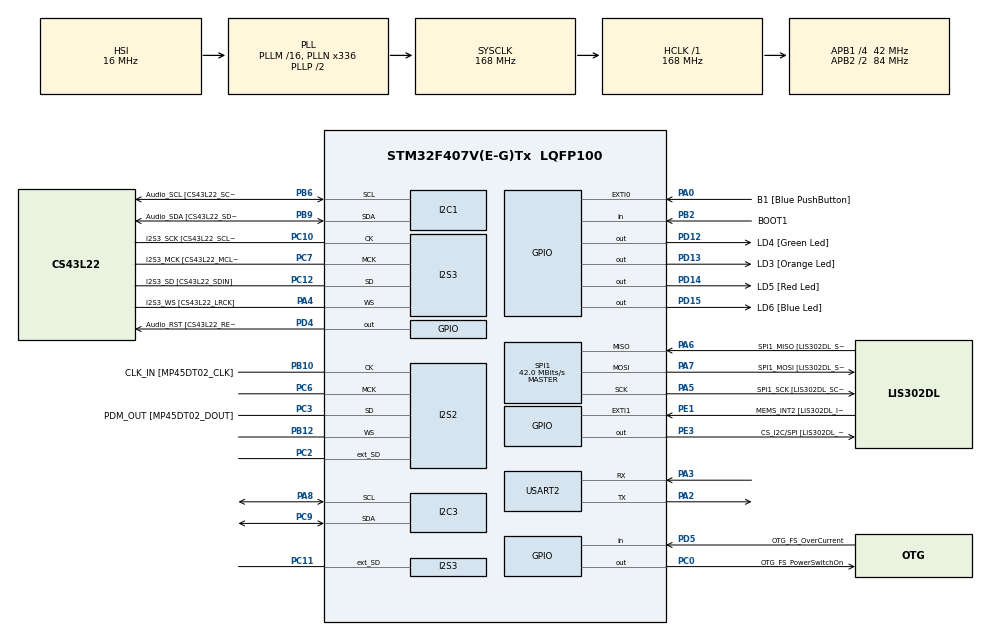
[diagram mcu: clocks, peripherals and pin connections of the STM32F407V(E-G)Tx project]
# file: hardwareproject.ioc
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Dma.Request0=SPI3_TX
Dma.SPI3_TX.0.Direction=DMA_MEMORY_TO_PERIPH
Dma.SPI3_TX.0.FIFOMode=DMA_FIFOMODE_ENABLE
Dma.SPI3_TX.0.FIFOThreshold=DMA_FIFO_THRESHOLD_FULL
Dma.SPI3_TX.0.Instance=DMA1_Stream5
Dma.SPI3_TX.0.MemBurst=DMA_MBURST_INC8
Dma.SPI3_TX.0.MemDataAlignment=DMA_MDATAALIGN_HALFWORD
Dma.SPI3_TX.0.MemInc=DMA_MINC_ENABLE
Dma.SPI3_TX.0.Mode=DMA_NORMAL
Dma.SPI3_TX.0.PeriphBurst=DMA_PBURST_SINGLE
Dma.SPI3_TX.0.PeriphDataAlignment=DMA_PDATAALIGN_HALFWORD
Dma.SPI3_TX.0.PeriphInc=DMA_PINC_DISABLE
Dma.SPI3_TX.0.Priority=DMA_PRIORITY_LOW
I2S2.AudioFreq=I2S_AUDIOFREQ_48K
I2S2.ErrorAudioFreq=-0.01 %
I2S2.FullDuplexMode=I2S_FULLDUPLEXMODE_ENABLE
I2S2.Mode=I2S_MODE_MASTER_RX
I2S2.RealAudioFreq=47.991 KHz
I2S3.AudioFreq=I2S_AUDIOFREQ_48K
I2S3.ErrorAudioFreq=-0.01 %
I2S3.FullDuplexMode=I2S_FULLDUPLEXMODE_ENABLE
I2S3.RealAudioFreq=47.991 KHz
I2S3.Standard=I2S_STANDARD_MSB
Mcu.Family=STM32F4
Mcu.Name=STM32F407V(E-G)Tx
Mcu.Package=LQFP100
NVIC.DMA1_Stream5_IRQn=true\:0\:0\:false\:false\:true
NVIC.PriorityGroup=NVIC_PRIORITYGROUP_0
NVIC.SPI2_IRQn=true\:0\:0\:false\:false\:true
PA0-WKUP.GPIO_Label=B1 [Blue PushButton]
PA0-WKUP.Signal=GPXTI0
PA10.GPIO_Label=OTG_FS_ID
PA10.GPIO_Mode=GPIO_MODE_AF_PP
PA10.GPIO_PuPd=GPIO_NOPULL
PA10.GPIO_Speed=GPIO_SPEED_FREQ_LOW
PA10.Signal=USB_OTG_FS_ID
PA11.GPIO_Label=OTG_FS_DM
PA11.GPIO_Mode=GPIO_MODE_AF_PP
PA11.GPIO_PuPd=GPIO_NOPULL
PA11.GPIO_Speed=GPIO_SPEED_FREQ_LOW
PA11.Signal=USB_OTG_FS_DM
PA12.GPIO_Label=OTG_FS_DP
PA12.GPIO_Mode=GPIO_MODE_AF_PP
PA12.GPIO_PuPd=GPIO_NOPULL
PA12.GPIO_Speed=GPIO_SPEED_FREQ_LOW
PA12.Signal=USB_OTG_FS_DP
PA13.GPIO_Label=SWDIO
PA13.Signal=SYS_JTMS-SWDIO
PA14.GPIO_Label=SWCLK
PA14.Signal=SYS_JTCK-SWCLK
PA2.Mode=Asynchronous
PA2.Signal=USART2_TX
PA3.Mode=Asynchronous
PA3.Signal=USART2_RX
PA4.GPIO_Label=I2S3_WS [CS43L22_LRCK]
PA4.GPIO_Mode=GPIO_MODE_AF_PP
PA4.GPIO_PuPd=GPIO_NOPULL
PA4.GPIO_Speed=GPIO_SPEED_FREQ_LOW
PA4.Mode=Full_Duplex_Master
PA4.Signal=I2S3_WS
PA5.GPIO_Label=SPI1_SCK [LIS302DL_SCL/SPC]
PA5.GPIO_Mode=GPIO_MODE_AF_PP
PA5.GPIO_PuPd=GPIO_NOPULL
PA5.GPIO_Speed=GPIO_SPEED_FREQ_LOW
PA5.Mode=Full_Duplex_Master
PA5.Signal=SPI1_SCK
PA6.GPIO_Label=SPI1_MISO [LIS302DL_SDO]
PA6.GPIO_Mode=GPIO_MODE_AF_PP
PA6.GPIO_PuPd=GPIO_NOPULL
PA6.GPIO_Speed=GPIO_SPEED_FREQ_LOW
PA6.Mode=Full_Duplex_Master
PA6.Signal=SPI1_MISO
PA7.GPIO_Label=SPI1_MOSI [LIS302DL_SDA/SDI/SDO]
PA7.GPIO_Mode=GPIO_MODE_AF_PP
PA7.GPIO_PuPd=GPIO_NOPULL
PA7.GPIO_Speed=GPIO_SPEED_FREQ_LOW
PA7.Mode=Full_Duplex_Master
PA7.Signal=SPI1_MOSI
PA8.Mode=I2C
PA8.Signal=I2C3_SCL
PA9.GPIO_Label=VBUS_FS
PA9.GPIO_Mode=GPIO_MODE_INPUT
PA9.GPIO_PuPd=GPIO_NOPULL
PA9.Signal=USB_OTG_FS_VBUS
PB10.GPIO_Label=CLK_IN [MP45DT02_CLK]
PB10.GPIO_Mode=GPIO_MODE_AF_PP
PB10.GPIO_PuPd=GPIO_NOPULL
PB10.GPIO_Speed=GPIO_SPEED_FREQ_LOW
PB10.Mode=Full_Duplex_Master
PB10.Signal=I2S2_CK
PB12.Mode=Full_Duplex_Master
PB12.Signal=I2S2_WS
PB2.GPIO_Label=BOOT1
PB2.GPIO_Mode=GPIO_MODE_INPUT
PB2.GPIO_PuPd=GPIO_NOPULL
PB2.Signal=GPIO_Input
PB3.GPIO_Label=SWO
PB3.Signal=SYS_JTDO-SWO
PB6.GPIO_Label=Audio_SCL [CS43L22_SCL]
PB6.GPIO_Mode=GPIO_MODE_AF_OD
PB6.GPIO_PuPd=GPIO_NOPULL
PB6.GPIO_Speed=GPIO_SPEED_FREQ_LOW
PB6.Mode=I2C
PB6.Signal=I2C1_SCL
PB9.GPIO_Label=Audio_SDA [CS43L22_SDA]
PB9.GPIO_Mode=GPIO_MODE_AF_OD
PB9.GPIO_PuPd=GPIO_NOPULL
PB9.GPIO_Speed=GPIO_SPEED_FREQ_LOW
PB9.Mode=I2C
PB9.Signal=I2C1_SDA
PC0.GPIO_Label=OTG_FS_PowerSwitchOn
PC0.GPIO_PuPd=GPIO_NOPULL
PC0.GPIO_Speed=GPIO_SPEED_FREQ_LOW
PC0.PinState=GPIO_PIN_SET
PC0.Signal=GPIO_Output
PC10.GPIO_Label=I2S3_SCK [CS43L22_SCLK]
PC10.GPIO_Mode=GPIO_MODE_AF_PP
PC10.GPIO_PuPd=GPIO_NOPULL
PC10.GPIO_Speed=GPIO_SPEED_FREQ_LOW
PC10.Mode=Full_Duplex_Master
PC10.Signal=I2S3_CK
PC11.Mode=Full_Duplex_Master
PC11.Signal=I2S3_ext_SD
PC12.GPIO_Label=I2S3_SD [CS43L22_SDIN]
PC12.GPIO_Mode=GPIO_MODE_AF_PP
PC12.GPIO_PuPd=GPIO_NOPULL
PC12.GPIO_Speed=GPIO_SPEED_FREQ_LOW
PC12.Mode=Full_Duplex_Master
PC12.Signal=I2S3_SD
PC14-OSC32_IN.GPIO_Label=PC14-OSC32_IN
PC14-OSC32_IN.Signal=RCC_OSC32_IN
PC15-OSC32_OUT.GPIO_Label=PC15-OSC32_OUT
PC15-OSC32_OUT.Signal=RCC_OSC32_OUT
PC2.Mode=Full_Duplex_Master
PC2.Signal=I2S2_ext_SD
PC3.GPIO_Label=PDM_OUT [MP45DT02_DOUT]
PC3.GPIO_Mode=GPIO_MODE_AF_PP
PC3.GPIO_PuPd=GPIO_NOPULL
PC3.GPIO_Speed=GPIO_SPEED_FREQ_LOW
PC3.Mode=Full_Duplex_Master
PC3.Signal=I2S2_SD
PC6.Mode=Master_Clock_Activated
PC6.Signal=I2S2_MCK
PC7.GPIO_Label=I2S3_MCK [CS43L22_MCLK]
PC7.GPIO_Mode=GPIO_MODE_AF_PP
PC7.GPIO_PuPd=GPIO_NOPULL
PC7.GPIO_Speed=GPIO_SPEED_FREQ_LOW
PC7.Mode=Master_Clock_Activated
PC7.Signal=I2S3_MCK
PC9.Mode=I2C
PC9.Signal=I2C3_SDA
PD12.GPIO_Label=LD4 [Green Led]
PD12.GPIO_PuPd=GPIO_NOPULL
PD12.GPIO_Speed=GPIO_SPEED_FREQ_LOW
PD12.Signal=GPIO_Output
PD13.GPIO_Label=LD3 [Orange Led]
PD13.GPIO_PuPd=GPIO_NOPULL
PD13.GPIO_Speed=GPIO_SPEED_FREQ_LOW
PD13.Signal=GPIO_Output
PD14.GPIO_Label=LD5 [Red Led]
PD14.GPIO_PuPd=GPIO_NOPULL
PD14.GPIO_Speed=GPIO_SPEED_FREQ_LOW
PD14.Signal=GPIO_Output
PD15.GPIO_Label=LD6 [Blue Led]
PD15.GPIO_PuPd=GPIO_NOPULL
PD15.GPIO_Speed=GPIO_SPEED_FREQ_LOW
PD15.Signal=GPIO_Output
PD4.GPIO_Label=Audio_RST [CS43L22_RESET]
PD4.GPIO_PuPd=GPIO_NOPULL
PD4.GPIO_Speed=GPIO_SPEED_FREQ_MEDIUM
PD4.Signal=GPIO_Output
PD5.GPIO_Label=OTG_FS_OverCurrent
PD5.GPIO_Mode=GPIO_MODE_INPUT
PD5.GPIO_PuPd=GPIO_NOPULL
PD5.Signal=GPIO_Input
PE1.GPIO_Label=MEMS_INT2 [LIS302DL_INT2]
PE1.GPIO_ModeDefaultEXTI=GPIO_MODE_EVT_RISING
PE1.GPIO_PuPd=GPIO_NOPULL
PE1.Signal=GPXTI1
PE3.GPIO_Label=CS_I2C/SPI [LIS302DL_CS_I2C/SPI]
PE3.GPIO_PuPd=GPIO_NOPULL
PE3.GPIO_Speed=GPIO_SPEED_FREQ_LOW
PE3.Signal=GPIO_Output
PH0-OSC_IN.GPIO_Label=PH0-OSC_IN
PH0-OSC_IN.Signal=RCC_OSC_IN
PH1-OSC_OUT.GPIO_Label=PH1-OSC_OUT
PH1-OSC_OUT.Signal=RCC_OSC_OUT
ProjectManager.HeapSize=0x200
ProjectManager.StackSize=0x400
ProjectManager.TargetToolchain=MDK-ARM V5
RCC.48MHZClocksFreq_Value=48000000
RCC.AHBFreq_Value=168000000
RCC.APB1CLKDivider=RCC_HCLK_DIV4
RCC.APB1Freq_Value=42000000
RCC.APB1TimFreq_Value=84000000
RCC.APB2CLKDivider=RCC_HCLK_DIV2
RCC.APB2Freq_Value=84000000
RCC.APB2TimFreq_Value=168000000
RCC.CortexFreq_Value=168000000
RCC.HCLKFreq_Value=168000000
RCC.HSE_VALUE=8000000
RCC.HSI_VALUE=16000000
RCC.LSE_VALUE=32768
RCC.PLLI2SN=258
RCC.PLLI2SR=3
RCC.PLLN=336
RCC.PLLQ=7
RCC.SYSCLKFreq_VALUE=168000000
RCC.SYSCLKSource=RCC_SYSCLKSOURCE_PLLCLK
RCC.VCOOutputFreq_Value=336000000
SPI1.CalculateBaudRate=42.0 MBits/s
SPI1.Mode=SPI_MODE_MASTER
VP_CRC_VS_CRC.Mode=CRC_Activate
board=STM32F407G-DISC1

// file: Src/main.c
/**
  ******************************************************************************
  * File Name          : main.c
  * Description        : Main program body
  ******************************************************************************
  *
  * COPYRIGHT(c) 2016 STMicroelectronics
  *
  * Redistribution and use in source and binary forms, with or without modification,
  * are permitted provided that the following conditions are met:
  *   1. Redistributions of source code must retain the above copyright notice,
  *      this list of conditions and the following disclaimer.
  *   2. Redistributions in binary form must reproduce the above copyright notice,
  *      this list of conditions and the following disclaimer in the documentation
  *      and/or other materials provided with the distribution.
  *   3. Neither the name of STMicroelectronics nor the names of its contributors
  *      may be used to endorse or promote products derived from this software
  *      without specific prior written permission.
  *
  * THIS SOFTWARE IS PROVIDED BY THE COPYRIGHT HOLDERS AND CONTRIBUTORS "AS IS"
  * AND ANY EXPRESS OR IMPLIED WARRANTIES, INCLUDING, BUT NOT LIMITED TO, THE
  * IMPLIED WARRANTIES OF MERCHANTABILITY AND FITNESS FOR A PARTICULAR PURPOSE ARE
  * DISCLAIMED. IN NO EVENT SHALL THE COPYRIGHT HOLDER OR CONTRIBUTORS BE LIABLE
  * FOR ANY DIRECT, INDIRECT, INCIDENTAL, SPECIAL, EXEMPLARY, OR CONSEQUENTIAL
  * DAMAGES (INCLUDING, BUT NOT LIMITED TO, PROCUREMENT OF SUBSTITUTE GOODS OR
  * SERVICES; LOSS OF USE, DATA, OR PROFITS; OR BUSINESS INTERRUPTION) HOWEVER
  * CAUSED AND ON ANY THEORY OF LIABILITY, WHETHER IN CONTRACT, STRICT LIABILITY,
  * OR TORT (INCLUDING NEGLIGENCE OR OTHERWISE) ARISING IN ANY WAY OUT OF THE USE
  * OF THIS SOFTWARE, EVEN IF ADVISED OF THE POSSIBILITY OF SUCH DAMAGE.
  *
  ******************************************************************************
  */
#include "main.h"
#include "stm32f4xx_hal.h"

/* USER CODE BEGIN Includes */
#include "pdm_filter.h"
#include <math.h>
#define LED_BLUE_ON   GPIOD->BSRRL = GPIO_Pin_15;
#define LED_BLUE_OFF  GPIOD->BSRRH = GPIO_Pin_15;

#define DAC_I2C_ADDR 0x94
#define FS 48000
#define PDM_BUFFER_SIZE 64 // 8000 / 1000 * 64 / 8
#define PCM_BUFFER_SIZE 16 // 8000 / 1000 * 64

#define PI 3.14159265f

/* USER CODE END Includes */

CRC_HandleTypeDef hcrc;

I2C_HandleTypeDef hi2c1;
I2C_HandleTypeDef hi2c3;

I2S_HandleTypeDef hi2s2;
I2S_HandleTypeDef hi2s3;
DMA_HandleTypeDef hdma_spi3_tx;

SPI_HandleTypeDef hspi1;

UART_HandleTypeDef huart2;

/* USER CODE BEGIN PV */
/* Private variables ---------------------------------------------------------*/
PDMFilter_InitStruct pdm_filter;
int i = 0;
const int freq[] = { 183, 163, 145, 137, 122, 109, 97};
uint16_t wav[7][256];
uint16_t PDM_buffer[ PDM_BUFFER_SIZE ];
uint16_t PCM_buffer[ PCM_BUFFER_SIZE ];

/* USER CODE END PV */

void SystemClock_Config(void);
void Error_Handler(void);
static void MX_GPIO_Init(void);
static void MX_DMA_Init(void);
static void MX_I2C1_Init(void);
static void MX_I2C3_Init(void);
static void MX_I2S2_Init(void);
static void MX_I2S3_Init(void);
static void MX_SPI1_Init(void);
static void MX_USART2_UART_Init(void);
static void MX_CRC_Init(void);

/* USER CODE BEGIN PFP */
static void CS43I22_Init(void);
static void MP45DT02_Init(void);
/* USER CODE END PFP */

/* USER CODE BEGIN 0 */
uint8_t regValue = 0xFF;
uint8_t cmd[10];
uint8_t currentKey = 0;
/* USER CODE END 0 */

int main(void)
{

  /* USER CODE BEGIN 1 */
	int j = 0;
  /* USER CODE END 1 */

  /* MCU Configuration----------------------------------------------------------*/

  /* Reset of all peripherals, Initializes the Flash interface and the Systick. */
  HAL_Init();

  /* Configure the system clock */
  SystemClock_Config();

  /* Initialize all configured peripherals */
  MX_GPIO_Init();
  MX_DMA_Init();
  MX_I2C1_Init();
  MX_I2C3_Init();
  MX_I2S2_Init();
  MX_I2S3_Init();
  MX_SPI1_Init();
  MX_USART2_UART_Init();
  MX_CRC_Init();

  /* USER CODE BEGIN 2 */
	CS43I22_Init();
  MP45DT02_Init();

  for (j = 0; j < 7; j++) {
    for (i = 0; i < freq[j]; i++) {
      wav[j][i] = sin(2 * PI / freq[j] * i) * 32767;
    }
  }

  i = 0;

	HAL_I2S_Receive_IT(&hi2s2, PCM_buffer, PCM_BUFFER_SIZE);
  /* USER CODE END 2 */

  /* Infinite loop */
  while (1)
  {

  /* USER CODE BEGIN 3 */
    /*
    uint16_t data[1024];
		char str[8];
		int len, i, j;
		int dat = 0;

    if(HAL_I2S_Receive(&hi2s2, data, 1024, 10) == HAL_OK){
			for(i = 0; i < 1024; i++){
				for(j = 0; j < 16; j++){
					dat += (data[i] >> j) % 2;
				}
			}
			dat -= 8200;
			len = sprintf(str, "%d", dat);
			HAL_UART_Transmit(&huart2, str, len, 1000);
			HAL_UART_Transmit(&huart2, "\n\r", 2, 1000);
		}
    */

		/*
    uint8_t data;
		if (HAL_UART_Receive(&huart2, &data, 1, 10) == HAL_OK) {
			if (data - 'A' >= 0 && data - 'A' < 7) {
				HAL_UART_Transmit(&huart2, &data, 1, 1000);
				HAL_UART_Transmit(&huart2, "\n\r", 2, 1000);

				currentKey = data - 'A';
				i = freq[currentKey] * 2;
				HAL_I2S_Transmit_DMA(&hi2s3, wav[currentKey], freq[currentKey]);
			}
		}*/
  }
  /* USER CODE END 3 */

}

/** System Clock Configuration
*/
void SystemClock_Config(void)
{

  RCC_OscInitTypeDef RCC_OscInitStruct;
  RCC_ClkInitTypeDef RCC_ClkInitStruct;
  RCC_PeriphCLKInitTypeDef PeriphClkInitStruct;

    /**Configure the main internal regulator output voltage
    */
  __HAL_RCC_PWR_CLK_ENABLE();

  __HAL_PWR_VOLTAGESCALING_CONFIG(PWR_REGULATOR_VOLTAGE_SCALE1);

    /**Initializes the CPU, AHB and APB busses clocks
    */
  RCC_OscInitStruct.OscillatorType = RCC_OSCILLATORTYPE_HSI;
  RCC_OscInitStruct.HSIState = RCC_HSI_ON;
  RCC_OscInitStruct.HSICalibrationValue = 16;
  RCC_OscInitStruct.PLL.PLLState = RCC_PLL_ON;
  RCC_OscInitStruct.PLL.PLLSource = RCC_PLLSOURCE_HSI;
  RCC_OscInitStruct.PLL.PLLM = 16;
  RCC_OscInitStruct.PLL.PLLN = 336;
  RCC_OscInitStruct.PLL.PLLP = RCC_PLLP_DIV2;
  RCC_OscInitStruct.PLL.PLLQ = 7;
  if (HAL_RCC_OscConfig(&RCC_OscInitStruct) != HAL_OK)
  {
    Error_Handler();
  }

    /**Initializes the CPU, AHB and APB busses clocks
    */
  RCC_ClkInitStruct.ClockType = RCC_CLOCKTYPE_HCLK|RCC_CLOCKTYPE_SYSCLK
                              |RCC_CLOCKTYPE_PCLK1|RCC_CLOCKTYPE_PCLK2;
  RCC_ClkInitStruct.SYSCLKSource = RCC_SYSCLKSOURCE_PLLCLK;
  RCC_ClkInitStruct.AHBCLKDivider = RCC_SYSCLK_DIV1;
  RCC_ClkInitStruct.APB1CLKDivider = RCC_HCLK_DIV4;
  RCC_ClkInitStruct.APB2CLKDivider = RCC_HCLK_DIV2;

  if (HAL_RCC_ClockConfig(&RCC_ClkInitStruct, FLASH_LATENCY_5) != HAL_OK)
  {
    Error_Handler();
  }

  PeriphClkInitStruct.PeriphClockSelection = RCC_PERIPHCLK_I2S;
  PeriphClkInitStruct.PLLI2S.PLLI2SN = 258;
  PeriphClkInitStruct.PLLI2S.PLLI2SR = 3;
  if (HAL_RCCEx_PeriphCLKConfig(&PeriphClkInitStruct) != HAL_OK)
  {
    Error_Handler();
  }

    /**Configure the Systick interrupt time
    */
  HAL_SYSTICK_Config(HAL_RCC_GetHCLKFreq()/1000);

    /**Configure the Systick
    */
  HAL_SYSTICK_CLKSourceConfig(SYSTICK_CLKSOURCE_HCLK);

  /* SysTick_IRQn interrupt configuration */
  HAL_NVIC_SetPriority(SysTick_IRQn, 0, 0);
}

/* CRC init function */
static void MX_CRC_Init(void)
{

  hcrc.Instance = CRC;
  if (HAL_CRC_Init(&hcrc) != HAL_OK)
  {
    Error_Handler();
  }

}

/* I2C1 init function */
static void MX_I2C1_Init(void)
{

  hi2c1.Instance = I2C1;
  hi2c1.Init.ClockSpeed = 100000;
  hi2c1.Init.DutyCycle = I2C_DUTYCYCLE_2;
  hi2c1.Init.OwnAddress1 = 0;
  hi2c1.Init.AddressingMode = I2C_ADDRESSINGMODE_7BIT;
  hi2c1.Init.DualAddressMode = I2C_DUALADDRESS_DISABLE;
  hi2c1.Init.OwnAddress2 = 0;
  hi2c1.Init.GeneralCallMode = I2C_GENERALCALL_DISABLE;
  hi2c1.Init.NoStretchMode = I2C_NOSTRETCH_DISABLE;
  if (HAL_I2C_Init(&hi2c1) != HAL_OK)
  {
    Error_Handler();
  }

}

/* I2C3 init function */
static void MX_I2C3_Init(void)
{

  hi2c3.Instance = I2C3;
  hi2c3.Init.ClockSpeed = 100000;
  hi2c3.Init.DutyCycle = I2C_DUTYCYCLE_2;
  hi2c3.Init.OwnAddress1 = 0;
  hi2c3.Init.AddressingMode = I2C_ADDRESSINGMODE_7BIT;
  hi2c3.Init.DualAddressMode = I2C_DUALADDRESS_DISABLE;
  hi2c3.Init.OwnAddress2 = 0;
  hi2c3.Init.GeneralCallMode = I2C_GENERALCALL_DISABLE;
  hi2c3.Init.NoStretchMode = I2C_NOSTRETCH_DISABLE;
  if (HAL_I2C_Init(&hi2c3) != HAL_OK)
  {
    Error_Handler();
  }

}

/* I2S2 init function */
static void MX_I2S2_Init(void)
{

  hi2s2.Instance = SPI2;
  hi2s2.Init.Mode = I2S_MODE_MASTER_RX;
  hi2s2.Init.Standard = I2S_STANDARD_PHILIPS;
  hi2s2.Init.DataFormat = I2S_DATAFORMAT_16B;
  hi2s2.Init.MCLKOutput = I2S_MCLKOUTPUT_ENABLE;
  hi2s2.Init.AudioFreq = I2S_AUDIOFREQ_48K;
  hi2s2.Init.CPOL = I2S_CPOL_LOW;
  hi2s2.Init.ClockSource = I2S_CLOCK_PLL;
  hi2s2.Init.FullDuplexMode = I2S_FULLDUPLEXMODE_ENABLE;
  if (HAL_I2S_Init(&hi2s2) != HAL_OK)
  {
    Error_Handler();
  }

}

/* I2S3 init function */
static void MX_I2S3_Init(void)
{

  hi2s3.Instance = SPI3;
  hi2s3.Init.Mode = I2S_MODE_MASTER_TX;
  hi2s3.Init.Standard = I2S_STANDARD_MSB;
  hi2s3.Init.DataFormat = I2S_DATAFORMAT_16B;
  hi2s3.Init.MCLKOutput = I2S_MCLKOUTPUT_ENABLE;
  hi2s3.Init.AudioFreq = I2S_AUDIOFREQ_48K;
  hi2s3.Init.CPOL = I2S_CPOL_LOW;
  hi2s3.Init.ClockSource = I2S_CLOCK_PLL;
  hi2s3.Init.FullDuplexMode = I2S_FULLDUPLEXMODE_ENABLE;
  if (HAL_I2S_Init(&hi2s3) != HAL_OK)
  {
    Error_Handler();
  }

}

/* SPI1 init function */
static void MX_SPI1_Init(void)
{

  hspi1.Instance = SPI1;
  hspi1.Init.Mode = SPI_MODE_MASTER;
  hspi1.Init.Direction = SPI_DIRECTION_2LINES;
  hspi1.Init.DataSize = SPI_DATASIZE_8BIT;
  hspi1.Init.CLKPolarity = SPI_POLARITY_LOW;
  hspi1.Init.CLKPhase = SPI_PHASE_1EDGE;
  hspi1.Init.NSS = SPI_NSS_SOFT;
  hspi1.Init.BaudRatePrescaler = SPI_BAUDRATEPRESCALER_2;
  hspi1.Init.FirstBit = SPI_FIRSTBIT_MSB;
  hspi1.Init.TIMode = SPI_TIMODE_DISABLE;
  hspi1.Init.CRCCalculation = SPI_CRCCALCULATION_DISABLE;
  hspi1.Init.CRCPolynomial = 10;
  if (HAL_SPI_Init(&hspi1) != HAL_OK)
  {
    Error_Handler();
  }

}

/* USART2 init function */
static void MX_USART2_UART_Init(void)
{

  huart2.Instance = USART2;
  huart2.Init.BaudRate = 115200;
  huart2.Init.WordLength = UART_WORDLENGTH_8B;
  huart2.Init.StopBits = UART_STOPBITS_1;
  huart2.Init.Parity = UART_PARITY_NONE;
  huart2.Init.Mode = UART_MODE_TX_RX;
  huart2.Init.HwFlowCtl = UART_HWCONTROL_NONE;
  huart2.Init.OverSampling = UART_OVERSAMPLING_16;
  if (HAL_UART_Init(&huart2) != HAL_OK)
  {
    Error_Handler();
  }

}

static void MX_DMA_Init(void)
{
  /* DMA controller clock enable */
  __HAL_RCC_DMA1_CLK_ENABLE();

  /* DMA interrupt init */
  /* DMA1_Stream5_IRQn interrupt configuration */
  HAL_NVIC_SetPriority(DMA1_Stream5_IRQn, 0, 0);
  HAL_NVIC_EnableIRQ(DMA1_Stream5_IRQn);

}

/** Configure pins as
        * Analog
        * Input
        * Output
        * EVENT_OUT
        * EXTI
     PA9   ------> USB_OTG_FS_VBUS
     PA10   ------> USB_OTG_FS_ID
     PA11   ------> USB_OTG_FS_DM
     PA12   ------> USB_OTG_FS_DP
*/
static void MX_GPIO_Init(void)
{

  GPIO_InitTypeDef GPIO_InitStruct;

  /* GPIO Ports Clock Enable */
  __HAL_RCC_GPIOE_CLK_ENABLE();
  __HAL_RCC_GPIOC_CLK_ENABLE();
  __HAL_RCC_GPIOH_CLK_ENABLE();
  __HAL_RCC_GPIOA_CLK_ENABLE();
  __HAL_RCC_GPIOB_CLK_ENABLE();
  __HAL_RCC_GPIOD_CLK_ENABLE();

  /*Configure GPIO pin Output Level */
  HAL_GPIO_WritePin(CS_I2C_SPI_GPIO_Port, CS_I2C_SPI_Pin, GPIO_PIN_RESET);

  /*Configure GPIO pin Output Level */
  HAL_GPIO_WritePin(OTG_FS_PowerSwitchOn_GPIO_Port, OTG_FS_PowerSwitchOn_Pin, GPIO_PIN_SET);

  /*Configure GPIO pin Output Level */
  HAL_GPIO_WritePin(GPIOD, LD4_Pin|LD3_Pin|LD5_Pin|LD6_Pin
                          |Audio_RST_Pin, GPIO_PIN_RESET);

  /*Configure GPIO pin : CS_I2C_SPI_Pin */
  GPIO_InitStruct.Pin = CS_I2C_SPI_Pin;
  GPIO_InitStruct.Mode = GPIO_MODE_OUTPUT_PP;
  GPIO_InitStruct.Pull = GPIO_NOPULL;
  GPIO_InitStruct.Speed = GPIO_SPEED_FREQ_LOW;
  HAL_GPIO_Init(CS_I2C_SPI_GPIO_Port, &GPIO_InitStruct);

  /*Configure GPIO pin : OTG_FS_PowerSwitchOn_Pin */
  GPIO_InitStruct.Pin = OTG_FS_PowerSwitchOn_Pin;
  GPIO_InitStruct.Mode = GPIO_MODE_OUTPUT_PP;
  GPIO_InitStruct.Pull = GPIO_NOPULL;
  GPIO_InitStruct.Speed = GPIO_SPEED_FREQ_LOW;
  HAL_GPIO_Init(OTG_FS_PowerSwitchOn_GPIO_Port, &GPIO_InitStruct);

  /*Configure GPIO pin : B1_Pin */
  GPIO_InitStruct.Pin = B1_Pin;
  GPIO_InitStruct.Mode = GPIO_MODE_IT_RISING;
  GPIO_InitStruct.Pull = GPIO_NOPULL;
  HAL_GPIO_Init(B1_GPIO_Port, &GPIO_InitStruct);

  /*Configure GPIO pin : BOOT1_Pin */
  GPIO_InitStruct.Pin = BOOT1_Pin;
  GPIO_InitStruct.Mode = GPIO_MODE_INPUT;
  GPIO_InitStruct.Pull = GPIO_NOPULL;
  HAL_GPIO_Init(BOOT1_GPIO_Port, &GPIO_InitStruct);

  /*Configure GPIO pins : LD4_Pin LD3_Pin LD5_Pin LD6_Pin */
  GPIO_InitStruct.Pin = LD4_Pin|LD3_Pin|LD5_Pin|LD6_Pin;
  GPIO_InitStruct.Mode = GPIO_MODE_OUTPUT_PP;
  GPIO_InitStruct.Pull = GPIO_NOPULL;
  GPIO_InitStruct.Speed = GPIO_SPEED_FREQ_LOW;
  HAL_GPIO_Init(GPIOD, &GPIO_InitStruct);

  /*Configure GPIO pin : VBUS_FS_Pin */
  GPIO_InitStruct.Pin = VBUS_FS_Pin;
  GPIO_InitStruct.Mode = GPIO_MODE_INPUT;
  GPIO_InitStruct.Pull = GPIO_NOPULL;
  HAL_GPIO_Init(VBUS_FS_GPIO_Port, &GPIO_InitStruct);

  /*Configure GPIO pins : OTG_FS_ID_Pin OTG_FS_DM_Pin OTG_FS_DP_Pin */
  GPIO_InitStruct.Pin = OTG_FS_ID_Pin|OTG_FS_DM_Pin|OTG_FS_DP_Pin;
  GPIO_InitStruct.Mode = GPIO_MODE_AF_PP;
  GPIO_InitStruct.Pull = GPIO_NOPULL;
  GPIO_InitStruct.Speed = GPIO_SPEED_FREQ_LOW;
  GPIO_InitStruct.Alternate = GPIO_AF10_OTG_FS;
  HAL_GPIO_Init(GPIOA, &GPIO_InitStruct);

  /*Configure GPIO pin : Audio_RST_Pin */
  GPIO_InitStruct.Pin = Audio_RST_Pin;
  GPIO_InitStruct.Mode = GPIO_MODE_OUTPUT_PP;
  GPIO_InitStruct.Pull = GPIO_NOPULL;
  GPIO_InitStruct.Speed = GPIO_SPEED_FREQ_MEDIUM;
  HAL_GPIO_Init(Audio_RST_GPIO_Port, &GPIO_InitStruct);

  /*Configure GPIO pin : OTG_FS_OverCurrent_Pin */
  GPIO_InitStruct.Pin = OTG_FS_OverCurrent_Pin;
  GPIO_InitStruct.Mode = GPIO_MODE_INPUT;
  GPIO_InitStruct.Pull = GPIO_NOPULL;
  HAL_GPIO_Init(OTG_FS_OverCurrent_GPIO_Port, &GPIO_InitStruct);

  /*Configure GPIO pin : MEMS_INT2_Pin */
  GPIO_InitStruct.Pin = MEMS_INT2_Pin;
  GPIO_InitStruct.Mode = GPIO_MODE_EVT_RISING;
  GPIO_InitStruct.Pull = GPIO_NOPULL;
  HAL_GPIO_Init(MEMS_INT2_GPIO_Port, &GPIO_InitStruct);

}

/* USER CODE BEGIN 4 */
static void CS43I22_Init(void) {

  // 4.9 Recommended Power-Up Sequence (p. 31)

  // 1. Hold RESET low until the power supplies are stable.
  // HAL_Delay(100);

  // 2. Bring RESET high
  HAL_GPIO_WritePin(GPIOD, GPIO_PIN_4, GPIO_PIN_SET);

  // 3. The default state of the ��?�?��?Power Ctl. 1��?�?�? register (0x02) is 0x01. Load the desired register settings while
	// keeping the ��?�?��?Power Ctl 1��?�?�? register set to 0x01.
	cmd[0] = 0x02;
	cmd[1] = 0x01;
	HAL_I2C_Master_Transmit(&hi2c1, DAC_I2C_ADDR, cmd, 2, 1000);

	// Load My Setting
	// 7.2 Power Control 1 (p.37)
	// cmd[0] = 0x02;
	// cmd[1] = 0x9E;
	// HAL_I2C_Master_Transmit(&hi2c1, DAC_I2C_ADDR, cmd, 2, 1000);
  // 7.3 Power Control 2 (p.38)
	cmd[0] = 0x04;
	// cmd[1] = 0xAA; /* 1010 1010 ( Headphone channel is always ON. Speaker channel is always ON. )*/
  cmd[1] =  (2 << 6);  // PDN_HPB[0:1]  = 10 (HP-B always on)
  cmd[1] |= (2 << 4);  // PDN_HPA[0:1]  = 10 (HP-A always on)
  cmd[1] |= (3 << 2);  // PDN_SPKB[0:1] = 11 (Speaker B always off)
  cmd[1] |= (3 << 0);  // PDN_SPKA[0:1] = 11 (Speaker A always off)
  HAL_I2C_Master_Transmit(&hi2c1, DAC_I2C_ADDR, cmd, 2, 1000);
  // 7.4 Clocking Control (p. 38)
	cmd[0] = 0x05;
  // cmd[1] = 0x81; /* 1000 0001 ( Auto-Detect, Double-Speed Mode (DSM - 50 kHz -100 kHz Fs), MCLK Divide By 2 ) */
	cmd[1] = 0x81;
	HAL_I2C_Master_Transmit(&hi2c1, DAC_I2C_ADDR, cmd, 2, 1000);
  // 7.5 Interface Control 1 (p. 40)
	cmd[0] = 0x06;
  HAL_I2C_Master_Transmit(&hi2c1, DAC_I2C_ADDR, cmd, 1, 100);
  HAL_I2C_Master_Receive(&hi2c1, DAC_I2C_ADDR, &cmd[1], 1, 100);
	// cmd[0] = 0x06;
	// cmd[1] = 0x07; /* 0000 0111 ( Slave Mode, Not Inverted SCLK, Disabled DSP, IยฒS up to 24-bit data, 16-bits Audio Wave Length ) */
	cmd[1] &= (1 << 5); // Clear all bits except bit 5 which is reserved
  cmd[1] &= ~(1 << 7);  // Slave
  cmd[1] &= ~(1 << 6);  // Clock polarity: Not inverted
  cmd[1] &= ~(1 << 4);  // No DSP mode
  cmd[1] &= ~(1 << 2);  // Left justified, up to 24 bit (default)
  cmd[1] |=  (3 << 0);  // 16-bit audio word length for I2S interface
	HAL_I2C_Master_Transmit(&hi2c1, DAC_I2C_ADDR, cmd, 2, 1000);
  // 7.6 Interface Control 2 (p. 41)
	// cmd[0] = 0x07;
	// cmd[1] = 0x07;
	// HAL_I2C_Master_Transmit(&hi2c1, DAC_I2C_ADDR, cmd, 2, 1000);
  // 7.7 Passthrough x Select: PassA (p. 42)
	cmd[0] = 0x08;
  HAL_I2C_Master_Transmit(&hi2c1, DAC_I2C_ADDR, cmd, 1, 100);
	HAL_I2C_Master_Receive(&hi2c1, DAC_I2C_ADDR, &cmd[1], 1, 100);
  cmd[1] &= 0xF0;      // Bits [5-7] are reserved
  cmd[1] |=  (1 << 0); // Use AIN1A as source for passthrough
	HAL_I2C_Master_Transmit(&hi2c1, DAC_I2C_ADDR, cmd, 2, 1000);
  // 7.7 Passthrough x Select: PassB (p. 42)
	cmd[0] = 0x09;
  HAL_I2C_Master_Transmit(&hi2c1, DAC_I2C_ADDR, cmd, 1, 100);
  HAL_I2C_Master_Receive(&hi2c1, DAC_I2C_ADDR, &cmd[1], 1, 100);
  cmd[1] &= 0xF0;      // Bits [5-7] are reserved
  cmd[1] |=  (1 << 0); // Use AIN1B as source for passthrough
  HAL_I2C_Master_Transmit(&hi2c1, DAC_I2C_ADDR, cmd, 2, 1000);
  // 7.10 Playback Control 1 (p. 43)
	// cmd[0] = 0x0D;
	// cmd[1] = 0x70; /* 0111 0000 ( 0.6047 Headphone Analog Gain, Playback Volume Setting B=A )*/
	// HAL_I2C_Master_Transmit(&hi2c1, DAC_I2C_ADDR, cmd, 2, 1000);
  // 7.8 Analog ZC and SR Settings (Address 0Ah) (p. 42)
	// cmd[0] = 0x0A;
	// cmd[1] = 0x00; /* xxxx 0000 */
	// HAL_I2C_Master_Transmit(&hi2c1, DAC_I2C_ADDR, cmd, 2, 1000);
	// 7.11 Miscellaneous Controls (Address 0Eh) (p. 44)
	cmd[0] = 0x0E;
  HAL_I2C_Master_Transmit(&hi2c1, DAC_I2C_ADDR, cmd, 1, 100);
	HAL_I2C_Master_Receive(&hi2c1, DAC_I2C_ADDR, &cmd[1], 1, 100);
  cmd[1] &= ~(1 << 7);   // Disable passthrough for AIN-A
  cmd[1] &= ~(1 << 6);   // Disable passthrough for AIN-B
  cmd[1] |=  (1 << 5);   // Mute passthrough on AIN-A
  cmd[1] |=  (1 << 4);   // Mute passthrough on AIN-B
  cmd[1] &= ~(1 << 3);   // Changed settings take affect immediately
  HAL_I2C_Master_Transmit(&hi2c1, DAC_I2C_ADDR, cmd, 2, 100);
  // 7.12 Playback Control 2 (Address 0Fh) (p. 45)
  cmd[0] = 0x0F;
  cmd[1] = 0x00;
  HAL_I2C_Master_Transmit(&hi2c1, DAC_I2C_ADDR, cmd, 2, 100);
  // 7.23 Limiter Control 1, Min/Max Thresholds  (p. 53)
	// cmd[0] = 0x27;
	// cmd[1] = 0x00; /* 0000 0000 ( Limiter Maximum Threshold 0 dB, Limiter Cushion Threshold 0 dB ) */
	// HAL_I2C_Master_Transmit(&hi2c1, DAC_I2C_ADDR, cmd, 2, 1000);
  // 7.14 PCMx Volume: PCMA (p. 47)
	cmd[0] = 0x1A;
	cmd[1] = 0x00;
	HAL_I2C_Master_Transmit(&hi2c1, DAC_I2C_ADDR, cmd, 3, 1000);
  // 7.14 PCMx Volume: PCMB (p. 47)
  cmd[0] = 0x1B; // | 0x80;
  cmd[1] = 0x00; // 0000 1010 ( PCM Channel B Volume )
  HAL_I2C_Master_Transmit(&hi2c1, DAC_I2C_ADDR, cmd, 2, 1000);

	// 7.18 Tone Control (p. 50)
	// cmd[0] = 0x1F;
	// cmd[1] = 0x0F; // 0000 1111 ( Treble Gain +12.0 dB, Bass Gain -10.5 dB )
	// HAL_I2C_Master_Transmit(&hi2c1, DAC_I2C_ADDR, cmd, 2, 1000);
  // 7.19 Master Volume Control: MSTA (p. 51)
	// cmd[0] = 0x20;
	// cmd[1] = 0x18; // 0001 1000
	// HAL_I2C_Master_Transmit(&hi2c1, DAC_I2C_ADDR, cmd, 2, 1000);
  // 7.19 Master Volume Control: MSTB (p. 52)
	// cmd[0] = 0x21;
	// cmd[1] = 0x18; // 0001 1000
	// HAL_I2C_Master_Transmit(&hi2c1, DAC_I2C_ADDR, cmd, 2, 1000);
  // 7.20 Headphone Volume Control: HPA (p. 51)
	// cmd[0] = 0x22;
	// cmd[1] = 0x00; // 0000 0000 ( Headphone Volume Control 0 dB )
	// HAL_I2C_Master_Transmit(&hi2c1, DAC_I2C_ADDR, cmd, 2, 1000);
  // 7.20 Headphone Volume Control: HPB (p. 51)
	// cmd[0] = 0x23;
	// cmd[1] = 0x00; // 0000 0000 ( Headphone Volume Control 0 dB )
	// HAL_I2C_Master_Transmit(&hi2c1, DAC_I2C_ADDR, cmd, 2, 1000);
  // 7.15 Beep Frequency & On Time (p. 48)
	// cmd[0] = 0x1C;
	// cmd[1] = 0x58; // 0101 1000 ( Beep Frequency 774.19 Hz G5, Beep On Time ~2.80 s )
	// HAL_I2C_Master_Transmit(&hi2c1, DAC_I2C_ADDR, cmd, 2, 1000);
  // 7.16 Beep Volume & Off Time (p. 48)
	// cmd[0] = 0x1D;
	// cmd[1] = 0x00; // 0000 0000 ( Beep Off Time ~1.23 s, Beep Volume -56 dB )
	//vHAL_I2C_Master_Transmit(&hi2c1, DAC_I2C_ADDR, cmd, 2, 1000);
  // 7.17 Beep & Tone Configuration (p. 49)
	//vcmd[0] = 0x1E;
	//vcmd[1] = 0x60; // 0110 0000 ( Single Beep, Beep Mix Disable )
	//vHAL_I2C_Master_Transmit(&hi2c1, DAC_I2C_ADDR, cmd, 2, 1000);

	// 4. Load the required initialization settings listed in Section 4.11
  // 4.1. Write 0x99 to register 0x00.
	cmd[0] = 0x00;
	cmd[1] = 0x99;
	HAL_I2C_Master_Transmit(&hi2c1, DAC_I2C_ADDR, cmd, 2, 1000);
  // 4.2. Write 0x80 to register 0x47
	cmd[0] = 0x47;
	cmd[1] = 0x80;
	HAL_I2C_Master_Transmit(&hi2c1, DAC_I2C_ADDR, cmd, 2, 1000);
  // 4.3. Write ��?�?��?1��?�?��?b to bit 7 in register 0x32.
	cmd[0] = 0x32;
	HAL_I2C_Master_Transmit(&hi2c1, DAC_I2C_ADDR, cmd, 1, 1000);
	HAL_I2C_Master_Receive(&hi2c1, DAC_I2C_ADDR, &cmd[1],1,1000);
	cmd[1] |= 0x80;
	HAL_I2C_Master_Transmit(&hi2c1, DAC_I2C_ADDR, cmd, 2, 1000);
  // 4.4. Write ��?�?��?0��?�?��?b to bit 7 in register 0x32.
	cmd[0] = 0x32;
	HAL_I2C_Master_Transmit(&hi2c1, DAC_I2C_ADDR, cmd, 1, 1000);
	HAL_I2C_Master_Receive(&hi2c1, DAC_I2C_ADDR, &cmd[1],1,1000);
	cmd[1] &= ~(0x80);
	HAL_I2C_Master_Transmit(&hi2c1, DAC_I2C_ADDR, cmd, 2, 1000);
  // 4.5. Write 0x00 to register 0x00.
	cmd[0] = 0x00;
	cmd[1] = 0x00;
	HAL_I2C_Master_Transmit(&hi2c1, DAC_I2C_ADDR, cmd, 2, 1000);

  // 5. Apply MCLK at the appropriate frequency, as discussed in Section 4.6. SCLK may be applied or set to
  // master at any time; LRCK may only be applied or set to master while the PDN bit is set to 1.

	// 6. Set the ��?�?��?Power Ctl 1��?�?�? register (0x02) to 0x9E
	cmd[0] = 0x02;
	cmd[1] = 0x9E;
	HAL_I2C_Master_Transmit(&hi2c1, DAC_I2C_ADDR, cmd, 2, 1000);

  // 7. Bring RESET low if the analog or digital supplies drop below the recommended operating condition to
  // prevent power glitch related issues.

  // DEBUG: ZONE keep breakpoint here
  /*
	uint8_t iReg_02 = 0x02;
	HAL_I2C_Master_Transmit(&hi2c1, DAC_I2C_ADDR, &iReg_02, 1, 100);
	HAL_I2C_Master_Receive(&hi2c1, DAC_I2C_ADDR, &iReg_02, 1, 100);
	uint8_t iReg_04 = 0x04;
	HAL_I2C_Master_Transmit(&hi2c1, DAC_I2C_ADDR, &iReg_04, 1, 100);
	HAL_I2C_Master_Receive(&hi2c1, DAC_I2C_ADDR, &iReg_04, 1, 100);
	uint8_t iReg_05 = 0x05;
	HAL_I2C_Master_Transmit(&hi2c1, DAC_I2C_ADDR, &iReg_05, 1, 100);
	HAL_I2C_Master_Receive( &hi2c1, DAC_I2C_ADDR, &iReg_05, 1, 100);
	uint8_t iReg_06 = 0x06;
	HAL_I2C_Master_Transmit(&hi2c1, DAC_I2C_ADDR, &iReg_06, 1, 100);
	HAL_I2C_Master_Receive(&hi2c1, DAC_I2C_ADDR, &iReg_06, 1, 100);
	uint8_t iReg_0E = 0x0E;
	HAL_I2C_Master_Transmit(&hi2c1, DAC_I2C_ADDR, &iReg_0E, 1, 100);
	HAL_I2C_Master_Receive(&hi2c1, DAC_I2C_ADDR, &iReg_0E, 1, 100);
	uint8_t iReg_0F = 0x0F;
	HAL_I2C_Master_Transmit(&hi2c1, DAC_I2C_ADDR, &iReg_0F, 1, 100);
	HAL_I2C_Master_Receive(&hi2c1, DAC_I2C_ADDR, &iReg_0F, 1, 100);
	uint8_t iReg_1A = 0x1A;
	HAL_I2C_Master_Transmit(&hi2c1, DAC_I2C_ADDR, &iReg_1A, 1, 100);
	HAL_I2C_Master_Receive(&hi2c1, DAC_I2C_ADDR, &iReg_1A, 1, 100);
	uint8_t iReg_1B = 0x1B;
	HAL_I2C_Master_Transmit(&hi2c1, DAC_I2C_ADDR, &iReg_1B, 1, 100);
	HAL_I2C_Master_Receive(&hi2c1, DAC_I2C_ADDR, &iReg_1B, 1, 100);
   */
}

static void MP45DT02_Init(void) {
  pdm_filter.LP_HZ = 8000;
  pdm_filter.HP_HZ = 0;
  pdm_filter.Fs = 16000;
  pdm_filter.Out_MicChannels = 1;
  pdm_filter.In_MicChannels = 1;

  PDM_Filter_Init((PDMFilter_InitStruct*)&pdm_filter);
}

void HAL_I2S_RxCpltCallback(I2S_HandleTypeDef *hi2s2)
{
  int c, len;
  char str[10];

  PDM_Filter_64_MSB((uint8_t*) PDM_buffer, PCM_buffer, 0, &pdm_filter);

  for (c = 0; c < PCM_BUFFER_SIZE; c++) {
    len = sprintf(str, "%d\n\r", PCM_buffer[ c ]);
    HAL_UART_Transmit(&huart2, (uint8_t*)str, len, 10);
  }

  HAL_I2S_Receive_IT(hi2s2, PDM_buffer, PDM_BUFFER_SIZE);
}

void HAL_I2S_TxCpltCallback(I2S_HandleTypeDef *hi2s3)
{
	i--;
	if (i > 0)
		HAL_I2S_Transmit_DMA(hi2s3, wav[currentKey], freq[currentKey]);
}
/* USER CODE END 4 */

void Error_Handler(void)
{
  while(1)
  {
  }
}

/************************ (C) COPYRIGHT STMicroelectronics *****END OF FILE****/
